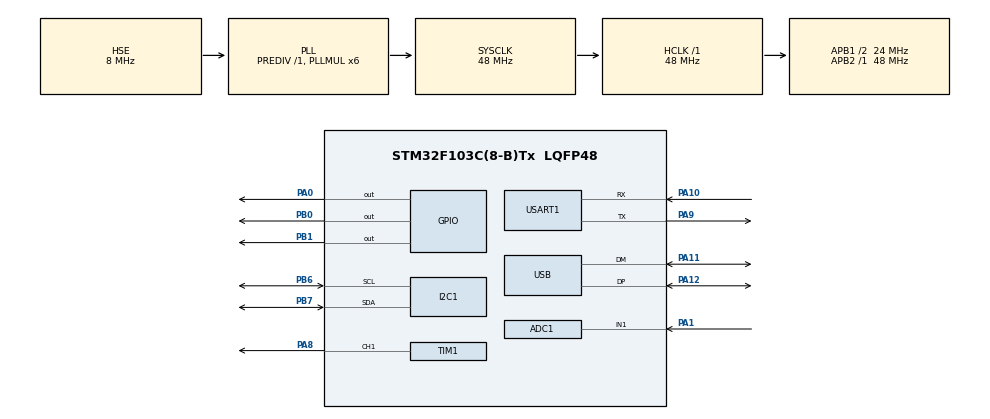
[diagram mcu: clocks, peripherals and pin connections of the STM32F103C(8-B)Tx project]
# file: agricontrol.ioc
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ADC1.Channel-0\#ChannelRegularConversion=ADC_CHANNEL_1
ADC1.NbrOfConversionFlag=1
ADC1.Rank-0\#ChannelRegularConversion=1
ADC1.SamplingTime-0\#ChannelRegularConversion=ADC_SAMPLETIME_1CYCLE_5
ADC1.master=1
Mcu.Family=STM32F1
Mcu.Name=STM32F103C(8-B)Tx
Mcu.Package=LQFP48
NVIC.PriorityGroup=NVIC_PRIORITYGROUP_4
NVIC.USB_LP_CAN1_RX0_IRQn=true\:0\:0\:false\:false\:true\:false\:true\:true
PA0-WKUP.Signal=GPIO_Output
PA1.Signal=ADCx_IN1
PA10.Mode=Asynchronous
PA10.Signal=USART1_RX
PA11.Mode=Device
PA11.Signal=USB_DM
PA12.Mode=Device
PA12.Signal=USB_DP
PA13.Mode=Serial_Wire
PA13.Signal=SYS_JTMS-SWDIO
PA14.Mode=Serial_Wire
PA14.Signal=SYS_JTCK-SWCLK
PA8.Signal=S_TIM1_CH1
PA9.Mode=Asynchronous
PA9.Signal=USART1_TX
PB0.Signal=GPIO_Output
PB1.Signal=GPIO_Output
PB6.Mode=I2C
PB6.Signal=I2C1_SCL
PB7.Mode=I2C
PB7.Signal=I2C1_SDA
PD0-OSC_IN.Mode=HSE-External-Oscillator
PD0-OSC_IN.Signal=RCC_OSC_IN
PD1-OSC_OUT.Mode=HSE-External-Oscillator
PD1-OSC_OUT.Signal=RCC_OSC_OUT
ProjectManager.HeapSize=0x200
ProjectManager.StackSize=0x400
ProjectManager.TargetToolchain=CMake
RCC.ADCPresc=RCC_ADCPCLK2_DIV4
RCC.AHBFreq_Value=48000000
RCC.APB1CLKDivider=RCC_HCLK_DIV2
RCC.APB1Freq_Value=24000000
RCC.APB1TimFreq_Value=48000000
RCC.APB2Freq_Value=48000000
RCC.APB2TimFreq_Value=48000000
RCC.HCLKFreq_Value=48000000
RCC.PLLMUL=RCC_PLL_MUL6
RCC.PLLSourceVirtual=RCC_PLLSOURCE_HSE
RCC.SYSCLKFreq_VALUE=48000000
RCC.SYSCLKSource=RCC_SYSCLKSOURCE_PLLCLK
RCC.USBFreq_Value=48000000
SH.ADCx_IN1.0=ADC1_IN1,IN1
SH.S_TIM1_CH1.0=TIM1_CH1,Output Compare1 CH1
TIM1.Channel-Output\ Compare1\ CH1=TIM_CHANNEL_1
USART1.VirtualMode=VM_ASYNC
USB_DEVICE.CLASS_NAME_FS=CDC
USB_DEVICE.VirtualMode=Cdc
USB_DEVICE.VirtualModeFS=Cdc_FS
VP_TIM1_VS_ClockSourceINT.Mode=Internal
VP_USB_DEVICE_VS_USB_DEVICE_CDC_FS.Mode=CDC_FS
board=custom

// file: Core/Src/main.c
/* USER CODE BEGIN Header */
/**
  ******************************************************************************
  * @file           : main.c
  * @brief          : Main program body (DHT22 + UART command receive)
  ******************************************************************************
  */
/* USER CODE END Header */
#include "main.h"
#include "usb_device.h"

/* USER CODE BEGIN Includes */
// Include CDC interface for debug output
extern uint8_t CDC_Transmit_FS(uint8_t* Buf, uint16_t Len);
/* USER CODE END Includes */

ADC_HandleTypeDef hadc1;

I2C_HandleTypeDef hi2c1;

TIM_HandleTypeDef htim1;

UART_HandleTypeDef huart1;

/* USER CODE BEGIN PV */
char msg[120];

uint16_t soil_value = 0;
float lux = 0;
uint8_t bh1750_data[2];

// DHT22 buffer and variables
uint8_t dht_bits[5];
float dht_temperature = 0.0f;
float dht_humidity = 0.0f;

// Actuator states
uint8_t pump_state = 0;  // 0=OFF, 1=ON
uint8_t led_state = 0;   // 0=OFF, 1=ON
uint8_t servo_pos = 0;   // 0-100 degrees

// Boot time filter - ignore ESP32 boot messages for first 5 seconds
uint32_t boot_complete_time = 0;

// UART receive (interrupt)
static uint8_t rx_byte;
static char rx_buf[256];  // Increased from 64 to 256
static volatile uint8_t rx_idx = 0;
static volatile uint32_t rx_byte_count = 0;  // Track bytes received
/* USER CODE END PV */

void SystemClock_Config(void);
static void MX_GPIO_Init(void);
static void MX_ADC1_Init(void);
static void MX_I2C1_Init(void);
static void MX_TIM1_Init(void);
static void MX_USART1_UART_Init(void);
/* USER CODE BEGIN PFP */
void BH1750_Init(void);
float BH1750_Read(void);
uint16_t Read_Soil_ADC(void);
void DHT22_Read(void);
void Send_Sensor_Data(void);
void process_uart_command(uint8_t cmd);
void start_uart_rx_interrupt(void);
/* USER CODE END PFP */

/* USER CODE BEGIN 0 */

/* BH1750 (địa chỉ 0x23) */
void BH1750_Init() {
    uint8_t cmd = 0x01; // power on
    HAL_I2C_Master_Transmit(&hi2c1, (0x23<<1), &cmd, 1, 100);
    cmd = 0x10; // continous high res
    HAL_I2C_Master_Transmit(&hi2c1, (0x23<<1), &cmd, 1, 100);
}

float BH1750_Read() {
    if (HAL_I2C_Master_Receive(&hi2c1, (0x23<<1) | 1, bh1750_data, 2, 100) == HAL_OK) {
        uint16_t raw = (bh1750_data[0] << 8) | bh1750_data[1];
        return raw / 1.2f;
    }
    return -1.0f;
}

/* ADC soil */
uint16_t Read_Soil_ADC(void)
{
    uint16_t value = 0;
    HAL_ADC_Start(&hadc1);
    if (HAL_ADC_PollForConversion(&hadc1, 10) == HAL_OK)
    {
        value = HAL_ADC_GetValue(&hadc1);
    }
    HAL_ADC_Stop(&hadc1);
    return value;
}

/* DHT22 Read - 1-wire protocol implementation */
// DHT22 timing constants (in microseconds)
#define DHT22_START_SIGNAL_DURATION 18000  // 18ms pull down
#define DHT22_RESPONSE_TIMEOUT 200         // 200us timeout for response
#define DHT22_BIT_TIMEOUT 100              // 100us timeout for bit read

// Helper function: Set PA0 low (drain, simulating open-drain)
static void DHT22_Pin_Low(void)
{
    HAL_GPIO_WritePin(GPIOA, GPIO_PIN_0, GPIO_PIN_RESET);
}

// Helper function: Set PA0 high (let pull-up handle it)
static void DHT22_Pin_High(void)
{
    HAL_GPIO_WritePin(GPIOA, GPIO_PIN_0, GPIO_PIN_SET);
}

// Helper function: Read PA0 state
static uint8_t DHT22_Pin_Read(void)
{
    return HAL_GPIO_ReadPin(GPIOA, GPIO_PIN_0);
}

// Helper function: Delay in microseconds (approximate)
static void DHT22_Delay_us(uint32_t us)
{
    // For STM32F103 at ~72MHz, rough approximation
    // Adjust multiplier based on actual clock speed
    uint32_t count = (us * 72) / 9;  // Empirical value for 1us delay
    while (count--) __NOP();
}

// Helper function: Wait for pin to reach desired state with timeout
static uint8_t DHT22_Wait_For_Pin(uint8_t state, uint32_t timeout_us)
{
    uint32_t timeout = timeout_us;
    while (timeout--) {
        if (DHT22_Pin_Read() == state) {
            return 1;  // Success
        }
        DHT22_Delay_us(1);
    }
    return 0;  // Timeout
}

/* DHT22 Read - Actual protocol implementation */
void DHT22_Read(void)
{
    uint8_t data[5] = {0};

    // Reset DHT22 by releasing it
    DHT22_Pin_High();
    HAL_Delay(1);

    // Send start signal: pull low for 18ms
    DHT22_Pin_Low();
    HAL_Delay(18);
    DHT22_Pin_High();

    // Wait for DHT22 response: it pulls low for ~80us then high for ~80us
    if (!DHT22_Wait_For_Pin(0, DHT22_RESPONSE_TIMEOUT)) {
        dht_temperature = 25.0f;  // Default on timeout
        dht_humidity = 60.0f;
        return;
    }

    if (!DHT22_Wait_For_Pin(1, DHT22_RESPONSE_TIMEOUT)) {
        dht_temperature = 25.0f;
        dht_humidity = 60.0f;
        return;
    }

    // Read 40 bits of data
    for (int byte_idx = 0; byte_idx < 5; byte_idx++) {
        for (int bit_idx = 7; bit_idx >= 0; bit_idx--) {
            // Wait for start of bit (pin goes low)
            if (!DHT22_Wait_For_Pin(0, DHT22_BIT_TIMEOUT)) {
                dht_temperature = 25.0f;
                dht_humidity = 60.0f;
                return;
            }

            // Wait for pin to go high
            if (!DHT22_Wait_For_Pin(1, DHT22_BIT_TIMEOUT)) {
                dht_temperature = 25.0f;
                dht_humidity = 60.0f;
                return;
            }

            // Measure high time (~26us for 0, ~70us for 1)
            uint32_t high_time = 0;
            while (DHT22_Pin_Read() && high_time < DHT22_BIT_TIMEOUT) {
                DHT22_Delay_us(1);
                high_time++;
            }

            // If high_time > 50us, it's a 1; otherwise 0
            if (high_time > 50) {
                data[byte_idx] |= (1 << bit_idx);
            }
        }
    }

    // Verify checksum
    uint8_t checksum = data[0] + data[1] + data[2] + data[3];
    if (checksum != data[4]) {
        // Checksum failed, use previous values or defaults
        return;
    }

    // Parse humidity (first 2 bytes)
    dht_humidity = (float)((data[0] << 8) | data[1]) / 10.0f;

    // Parse temperature (next 2 bytes)
    int16_t temp_raw = ((data[2] & 0x7F) << 8) | data[3];
    if (data[2] & 0x80) {  // Negative temperature
        temp_raw = -temp_raw;
    }
    dht_temperature = (float)temp_raw / 10.0f;
}

/* Send sensor data to ESP32 via UART */
void Send_Sensor_Data(void)
{
    char tx_buf[128];

    // Read all sensors
    DHT22_Read();
    lux = BH1750_Read();
    soil_value = Read_Soil_ADC();

    // Format: T:23.4,H:55.1,L:120.3,Soil:512,Pump:1,Servo:90,LED:1
    int len = snprintf(tx_buf, sizeof(tx_buf),
                      "T:%.1f,H:%.1f,L:%.1f,Soil:%u,Pump:%u,Servo:%u,LED:%u\r\n",
                      dht_temperature, dht_humidity, lux, soil_value,
                      pump_state, servo_pos, led_state);

    if (len > 0 && len < sizeof(tx_buf)) {
        // Send ONLY sensor data to UART (for ESP32)
        HAL_UART_Transmit(&huart1, (uint8_t*)tx_buf, len, 200);

        // Debug info to USB CDC only
        char debug_buf[160];
        int debug_len = snprintf(debug_buf, sizeof(debug_buf),
                                "[SENSOR] %s", tx_buf);
        if (debug_len > 0) {
            CDC_Transmit_FS((uint8_t*)debug_buf, debug_len);
        }
    }
}

/* UART receive interrupt start */
void start_uart_rx_interrupt(void)
{
    rx_idx = 0;
    memset(rx_buf, 0, sizeof(rx_buf));
    HAL_UART_Receive_IT(&huart1, &rx_byte, 1);

    // Debug only to USB CDC (not UART to avoid flooding ESP32)
    char msg_dbg[64];
    int len = snprintf(msg_dbg, sizeof(msg_dbg), "[UART] RX interrupt armed\r\n");
    if (len > 0) {
        CDC_Transmit_FS((uint8_t*)msg_dbg, len);
    }
}

/* Parse HEX commands:
   0x01 = Pump ON
   0x02 = Pump OFF
   0x03 = LED ON
   0x04 = LED OFF
   0x80-0xE4 = Servo 0-100 (0x80=0, 0xB2=50, 0xE4=100)
*/
void process_uart_command(uint8_t cmd)
{
    char debug_msg[128];
    int debug_len;

    // Debug only to USB CDC (not UART)
    debug_len = snprintf(debug_msg, sizeof(debug_msg), "[CMD] 0x%02X\r\n", cmd);
    CDC_Transmit_FS((uint8_t*)debug_msg, debug_len);

    // Parse hex commands
    if (cmd == 0x01) {
        HAL_GPIO_WritePin(GPIOB, GPIO_PIN_0, GPIO_PIN_SET);
        pump_state = 1;  // Update state
        debug_len = snprintf(debug_msg, sizeof(debug_msg), "[ACTION] PUMP=ON\r\n");
        CDC_Transmit_FS((uint8_t*)debug_msg, debug_len);
    }
    else if (cmd == 0x02) {
        HAL_GPIO_WritePin(GPIOB, GPIO_PIN_0, GPIO_PIN_RESET);
        pump_state = 0;  // Update state
        debug_len = snprintf(debug_msg, sizeof(debug_msg), "[ACTION] PUMP=OFF\r\n");
        CDC_Transmit_FS((uint8_t*)debug_msg, debug_len);
    }
    else if (cmd == 0x03) {
        HAL_GPIO_WritePin(GPIOB, GPIO_PIN_1, GPIO_PIN_SET);
        led_state = 1;  // Update state
        debug_len = snprintf(debug_msg, sizeof(debug_msg), "[ACTION] LED=ON\r\n");
        CDC_Transmit_FS((uint8_t*)debug_msg, debug_len);
    }
    else if (cmd == 0x04) {
        HAL_GPIO_WritePin(GPIOB, GPIO_PIN_1, GPIO_PIN_RESET);
        led_state = 0;  // Update state
        debug_len = snprintf(debug_msg, sizeof(debug_msg), "[ACTION] LED=OFF\r\n");
        CDC_Transmit_FS((uint8_t*)debug_msg, debug_len);
    }
    else if (cmd >= 0x80 && cmd <= 0xE4) {
        // Servo: 0x80=0°, 0xB2=50°, 0xE4=100°
        // Linear mapping: servo_value = (cmd - 0x80) * 100 / (0xE4 - 0x80)
        int servo_deg = (int)((cmd - 0x80) * 100 / (0xE4 - 0x80));
        if (servo_deg < 0) servo_deg = 0;
        if (servo_deg > 100) servo_deg = 100;

        servo_pos = (uint8_t)servo_deg;  // Update state
        uint32_t ccr = 50 + (servo_deg * 50 / 100);
        __HAL_TIM_SET_COMPARE(&htim1, TIM_CHANNEL_1, ccr);
        debug_len = snprintf(debug_msg, sizeof(debug_msg), "[ACTION] SERVO=%d\r\n", servo_deg);
        CDC_Transmit_FS((uint8_t*)debug_msg, debug_len);
    }

    // Send ACK
    uint8_t ack = 0x06;  // ACK = 0x06 (standard ASCII ACK)
    HAL_UART_Transmit(&huart1, &ack, 1, 100);
}

/* USER CODE END 0 */

int main(void)
{

  /* MCU Configuration--------------------------------------------------------*/

  /* Reset of all peripherals, Initializes the Flash interface and the Systick. */
  HAL_Init();

  /* Configure the system clock */
  SystemClock_Config();

  /* Initialize all configured peripherals */
  MX_GPIO_Init();
  MX_ADC1_Init();
  MX_I2C1_Init();
  MX_TIM1_Init();
  MX_USART1_UART_Init();
  MX_USB_DEVICE_Init();
  /* USER CODE BEGIN 2 */
  // Initialize devices
  HAL_GPIO_WritePin(GPIOB, GPIO_PIN_0, GPIO_PIN_RESET); // Pump OFF
  HAL_GPIO_WritePin(GPIOB, GPIO_PIN_1, GPIO_PIN_RESET); // LED OFF
  pump_state = 0;
  led_state = 0;
  servo_pos = 0;

  // Initialize sensors
  BH1750_Init();
  HAL_TIM_PWM_Start(&htim1, TIM_CHANNEL_1);

  // Send boot message
  const char *boot_msg = "STM32 READY\r\n";
  HAL_UART_Transmit(&huart1, (uint8_t*)boot_msg, strlen(boot_msg), 100);
  CDC_Transmit_FS((uint8_t*)boot_msg, strlen(boot_msg));

  // Set boot complete time - ignore ESP32 boot messages for 5 seconds
  boot_complete_time = HAL_GetTick() + 5000;

  HAL_Delay(500);
  /* USER CODE END 2 */

  /* Infinite loop */
  /* USER CODE BEGIN WHILE */

  uint32_t last_send_time = 0;
  const uint32_t SEND_INTERVAL = 2000; // Send sensor data every 2 seconds

  while (1)
  {
    /* USER CODE END WHILE */

    /* USER CODE BEGIN 3 */
    // Parse HEX commands - 1 byte at a time (non-blocking)
    uint8_t rx_byte_local;
    if (HAL_UART_Receive(&huart1, &rx_byte_local, 1, 50) == HAL_OK) {
      // Ignore boot messages during first 5 seconds
      if (HAL_GetTick() > boot_complete_time) {
        // Only process valid command bytes (0x01-0x04, 0x80-0xE4)
        if (rx_byte_local == 0x01 || rx_byte_local == 0x02 ||
            rx_byte_local == 0x03 || rx_byte_local == 0x04 ||
            (rx_byte_local >= 0x80 && rx_byte_local <= 0xE4)) {
          process_uart_command(rx_byte_local);
        }
        // Silently ignore other bytes (boot messages, text, etc.)
      }
    }

    // Send sensor data periodically
    uint32_t current_time = HAL_GetTick();
    if (current_time - last_send_time >= SEND_INTERVAL) {
      last_send_time = current_time;
      Send_Sensor_Data();
    }

    HAL_Delay(10); // Small delay to prevent busy-waiting
  }
  /* USER CODE END 3 */
}

void SystemClock_Config(void)
{
  RCC_OscInitTypeDef RCC_OscInitStruct = {0};
  RCC_ClkInitTypeDef RCC_ClkInitStruct = {0};
  RCC_PeriphCLKInitTypeDef PeriphClkInit = {0};

  /** Initializes the RCC Oscillators according to the specified parameters
  * in the RCC_OscInitTypeDef structure.
  */
  RCC_OscInitStruct.OscillatorType = RCC_OSCILLATORTYPE_HSE;
  RCC_OscInitStruct.HSEState = RCC_HSE_ON;
  RCC_OscInitStruct.HSEPredivValue = RCC_HSE_PREDIV_DIV1;
  RCC_OscInitStruct.HSIState = RCC_HSI_ON;
  RCC_OscInitStruct.PLL.PLLState = RCC_PLL_ON;
  RCC_OscInitStruct.PLL.PLLSource = RCC_PLLSOURCE_HSE;
  RCC_OscInitStruct.PLL.PLLMUL = RCC_PLL_MUL6;
  if (HAL_RCC_OscConfig(&RCC_OscInitStruct) != HAL_OK)
  {
    Error_Handler();
  }

  /** Initializes the CPU, AHB and APB buses clocks
  */
  RCC_ClkInitStruct.ClockType = RCC_CLOCKTYPE_HCLK|RCC_CLOCKTYPE_SYSCLK
                              |RCC_CLOCKTYPE_PCLK1|RCC_CLOCKTYPE_PCLK2;
  RCC_ClkInitStruct.SYSCLKSource = RCC_SYSCLKSOURCE_PLLCLK;
  RCC_ClkInitStruct.AHBCLKDivider = RCC_SYSCLK_DIV1;
  RCC_ClkInitStruct.APB1CLKDivider = RCC_HCLK_DIV2;
  RCC_ClkInitStruct.APB2CLKDivider = RCC_HCLK_DIV1;

  if (HAL_RCC_ClockConfig(&RCC_ClkInitStruct, FLASH_LATENCY_1) != HAL_OK)
  {
    Error_Handler();
  }
  PeriphClkInit.PeriphClockSelection = RCC_PERIPHCLK_ADC|RCC_PERIPHCLK_USB;
  PeriphClkInit.AdcClockSelection = RCC_ADCPCLK2_DIV4;
  PeriphClkInit.UsbClockSelection = RCC_USBCLKSOURCE_PLL;
  if (HAL_RCCEx_PeriphCLKConfig(&PeriphClkInit) != HAL_OK)
  {
    Error_Handler();
  }
}

static void MX_ADC1_Init(void)
{

  ADC_ChannelConfTypeDef sConfig = {0};

  /** Common config
  */
  hadc1.Instance = ADC1;
  hadc1.Init.ScanConvMode = ADC_SCAN_DISABLE;
  hadc1.Init.ContinuousConvMode = DISABLE;
  hadc1.Init.DiscontinuousConvMode = DISABLE;
  hadc1.Init.ExternalTrigConv = ADC_SOFTWARE_START;
  hadc1.Init.DataAlign = ADC_DATAALIGN_RIGHT;
  hadc1.Init.NbrOfConversion = 1;
  if (HAL_ADC_Init(&hadc1) != HAL_OK)
  {
    Error_Handler();
  }

  /** Configure Regular Channel
  */
  sConfig.Channel = ADC_CHANNEL_1;
  sConfig.Rank = ADC_REGULAR_RANK_1;
  sConfig.SamplingTime = ADC_SAMPLETIME_1CYCLE_5;
  if (HAL_ADC_ConfigChannel(&hadc1, &sConfig) != HAL_OK)
  {
    Error_Handler();
  }

}

static void MX_I2C1_Init(void)
{

  hi2c1.Instance = I2C1;
  hi2c1.Init.ClockSpeed = 100000;
  hi2c1.Init.DutyCycle = I2C_DUTYCYCLE_2;
  hi2c1.Init.OwnAddress1 = 0;
  hi2c1.Init.AddressingMode = I2C_ADDRESSINGMODE_7BIT;
  hi2c1.Init.DualAddressMode = I2C_DUALADDRESS_DISABLE;
  hi2c1.Init.OwnAddress2 = 0;
  hi2c1.Init.GeneralCallMode = I2C_GENERALCALL_DISABLE;
  hi2c1.Init.NoStretchMode = I2C_NOSTRETCH_DISABLE;
  if (HAL_I2C_Init(&hi2c1) != HAL_OK)
  {
    Error_Handler();
  }

}

static void MX_TIM1_Init(void)
{

  TIM_ClockConfigTypeDef sClockSourceConfig = {0};
  TIM_MasterConfigTypeDef sMasterConfig = {0};
  TIM_OC_InitTypeDef sConfigOC = {0};
  TIM_BreakDeadTimeConfigTypeDef sBreakDeadTimeConfig = {0};

  htim1.Instance = TIM1;
  htim1.Init.Prescaler = 0;
  htim1.Init.CounterMode = TIM_COUNTERMODE_UP;
  htim1.Init.Period = 65535;
  htim1.Init.ClockDivision = TIM_CLOCKDIVISION_DIV1;
  htim1.Init.RepetitionCounter = 0;
  htim1.Init.AutoReloadPreload = TIM_AUTORELOAD_PRELOAD_DISABLE;
  if (HAL_TIM_Base_Init(&htim1) != HAL_OK)
  {
    Error_Handler();
  }
  sClockSourceConfig.ClockSource = TIM_CLOCKSOURCE_INTERNAL;
  if (HAL_TIM_ConfigClockSource(&htim1, &sClockSourceConfig) != HAL_OK)
  {
    Error_Handler();
  }
  if (HAL_TIM_OC_Init(&htim1) != HAL_OK)
  {
    Error_Handler();
  }
  sMasterConfig.MasterOutputTrigger = TIM_TRGO_RESET;
  sMasterConfig.MasterSlaveMode = TIM_MASTERSLAVEMODE_DISABLE;
  if (HAL_TIMEx_MasterConfigSynchronization(&htim1, &sMasterConfig) != HAL_OK)
  {
    Error_Handler();
  }
  sConfigOC.OCMode = TIM_OCMODE_TIMING;
  sConfigOC.Pulse = 0;
  sConfigOC.OCPolarity = TIM_OCPOLARITY_HIGH;
  sConfigOC.OCNPolarity = TIM_OCNPOLARITY_HIGH;
  sConfigOC.OCFastMode = TIM_OCFAST_DISABLE;
  sConfigOC.OCIdleState = TIM_OCIDLESTATE_RESET;
  sConfigOC.OCNIdleState = TIM_OCNIDLESTATE_RESET;
  if (HAL_TIM_OC_ConfigChannel(&htim1, &sConfigOC, TIM_CHANNEL_1) != HAL_OK)
  {
    Error_Handler();
  }
  sBreakDeadTimeConfig.OffStateRunMode = TIM_OSSR_DISABLE;
  sBreakDeadTimeConfig.OffStateIDLEMode = TIM_OSSI_DISABLE;
  sBreakDeadTimeConfig.LockLevel = TIM_LOCKLEVEL_OFF;
  sBreakDeadTimeConfig.DeadTime = 0;
  sBreakDeadTimeConfig.BreakState = TIM_BREAK_DISABLE;
  sBreakDeadTimeConfig.BreakPolarity = TIM_BREAKPOLARITY_HIGH;
  sBreakDeadTimeConfig.AutomaticOutput = TIM_AUTOMATICOUTPUT_DISABLE;
  if (HAL_TIMEx_ConfigBreakDeadTime(&htim1, &sBreakDeadTimeConfig) != HAL_OK)
  {
    Error_Handler();
  }
  HAL_TIM_MspPostInit(&htim1);

}

static void MX_USART1_UART_Init(void)
{

  huart1.Instance = USART1;
  huart1.Init.BaudRate = 115200;
  huart1.Init.WordLength = UART_WORDLENGTH_8B;
  huart1.Init.StopBits = UART_STOPBITS_1;
  huart1.Init.Parity = UART_PARITY_NONE;
  huart1.Init.Mode = UART_MODE_TX_RX;
  huart1.Init.HwFlowCtl = UART_HWCONTROL_NONE;
  huart1.Init.OverSampling = UART_OVERSAMPLING_16;
  if (HAL_UART_Init(&huart1) != HAL_OK)
  {
    Error_Handler();
  }

}

static void MX_GPIO_Init(void)
{
  GPIO_InitTypeDef GPIO_InitStruct = {0};

  /* GPIO Ports Clock Enable */
  __HAL_RCC_GPIOD_CLK_ENABLE();
  __HAL_RCC_GPIOA_CLK_ENABLE();
  __HAL_RCC_GPIOB_CLK_ENABLE();

  /*Configure GPIO pin Output Level */
  HAL_GPIO_WritePin(GPIOA, GPIO_PIN_0, GPIO_PIN_RESET);

  /*Configure GPIO pin Output Level */
  HAL_GPIO_WritePin(GPIOB, GPIO_PIN_0|GPIO_PIN_1, GPIO_PIN_RESET);

  /*Configure GPIO pin : PA0 (DHT22 - Open Drain) */
  GPIO_InitStruct.Pin = GPIO_PIN_0;
  GPIO_InitStruct.Mode = GPIO_MODE_OUTPUT_OD;  // Open Drain for DHT22
  GPIO_InitStruct.Pull = GPIO_PULLUP;          // Pull-up for DHT22 1-wire
  GPIO_InitStruct.Speed = GPIO_SPEED_FREQ_LOW;
  HAL_GPIO_Init(GPIOA, &GPIO_InitStruct);

  /*Configure GPIO pins : PB0 PB1 */
  GPIO_InitStruct.Pin = GPIO_PIN_0|GPIO_PIN_1;
  GPIO_InitStruct.Mode = GPIO_MODE_OUTPUT_PP;
  GPIO_InitStruct.Pull = GPIO_NOPULL;
  GPIO_InitStruct.Speed = GPIO_SPEED_FREQ_LOW;
  HAL_GPIO_Init(GPIOB, &GPIO_InitStruct);

}

void Error_Handler(void)
{
  __disable_irq();
  while (1)
  {
  }
}
